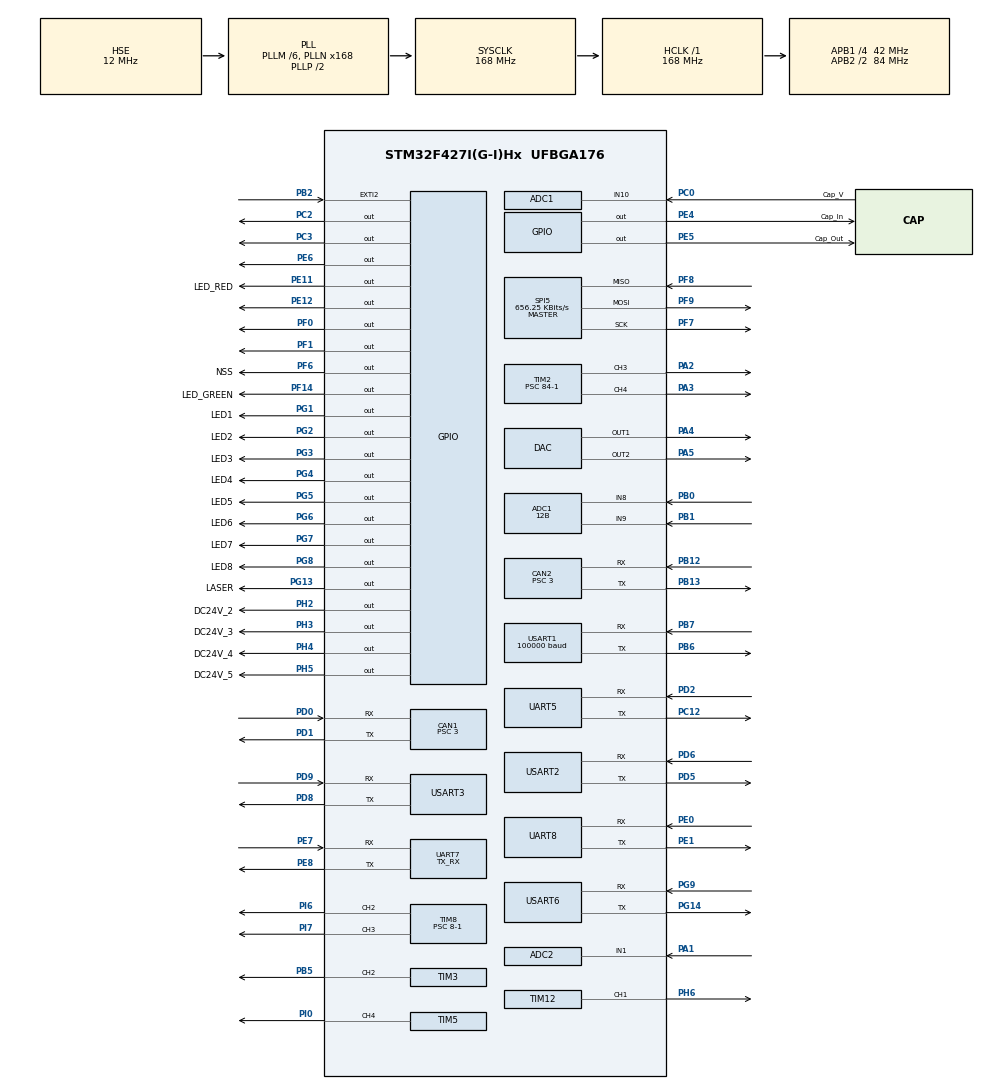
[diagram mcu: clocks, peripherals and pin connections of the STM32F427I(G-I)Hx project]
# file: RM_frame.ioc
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ADC1.Channel-0\#ChannelRegularConversion=ADC_CHANNEL_VREFINT
ADC1.Channel-1\#ChannelRegularConversion=ADC_CHANNEL_8
ADC1.Channel-2\#ChannelRegularConversion=ADC_CHANNEL_9
ADC1.Channel-3\#ChannelRegularConversion=ADC_CHANNEL_10
ADC1.ClockPrescaler=ADC_CLOCK_SYNC_PCLK_DIV4
ADC1.ContinuousConvMode=ENABLE
ADC1.DMAContinuousRequests=ENABLE
ADC1.DataAlign=ADC_DATAALIGN_RIGHT
ADC1.DiscontinuousConvMode=DISABLE
ADC1.EOCSelection=ADC_EOC_SINGLE_CONV
ADC1.EnableAnalogWatchDog=false
ADC1.ExternalTrigConv=ADC_SOFTWARE_START
ADC1.ExternalTrigConvEdge=ADC_EXTERNALTRIGCONVEDGE_NONE
ADC1.InjNumberOfConversion=0
ADC1.NbrOfConversion=4
ADC1.NbrOfConversionFlag=1
ADC1.Rank-0\#ChannelRegularConversion=1
ADC1.Rank-1\#ChannelRegularConversion=2
ADC1.Rank-2\#ChannelRegularConversion=3
ADC1.Rank-3\#ChannelRegularConversion=4
ADC1.Resolution=ADC_RESOLUTION_12B
ADC1.SamplingTime-0\#ChannelRegularConversion=ADC_SAMPLETIME_56CYCLES
ADC1.SamplingTime-1\#ChannelRegularConversion=ADC_SAMPLETIME_56CYCLES
ADC1.SamplingTime-2\#ChannelRegularConversion=ADC_SAMPLETIME_56CYCLES
ADC1.SamplingTime-3\#ChannelRegularConversion=ADC_SAMPLETIME_56CYCLES
ADC1.ScanConvMode=ENABLE
ADC1.master=1
ADC2.Channel-4\#ChannelRegularConversion=ADC_CHANNEL_1
ADC2.ContinuousConvMode=ENABLE
ADC2.DMAContinuousRequests=ENABLE
ADC2.NbrOfConversionFlag=1
ADC2.Rank-4\#ChannelRegularConversion=1
ADC2.SamplingTime-4\#ChannelRegularConversion=ADC_SAMPLETIME_3CYCLES
ADC2.ScanConvMode=ENABLE
CAN1.BS1=CAN_BS1_9TQ
CAN1.BS2=CAN_BS2_4TQ
CAN1.CalculateTimeBit=1000
CAN1.CalculateTimeQuantum=71.42857142857143
CAN1.Prescaler=3
CAN2.BS1=CAN_BS1_9TQ
CAN2.BS2=CAN_BS2_4TQ
CAN2.CalculateTimeBit=1000
CAN2.CalculateTimeQuantum=71.42857142857143
CAN2.Prescaler=3
Dma.ADC1.5.Direction=DMA_PERIPH_TO_MEMORY
Dma.ADC1.5.FIFOMode=DMA_FIFOMODE_DISABLE
Dma.ADC1.5.Instance=DMA2_Stream0
Dma.ADC1.5.MemDataAlignment=DMA_MDATAALIGN_HALFWORD
Dma.ADC1.5.MemInc=DMA_MINC_ENABLE
Dma.ADC1.5.Mode=DMA_CIRCULAR
Dma.ADC1.5.PeriphDataAlignment=DMA_PDATAALIGN_HALFWORD
Dma.ADC1.5.PeriphInc=DMA_PINC_DISABLE
Dma.ADC1.5.Priority=DMA_PRIORITY_LOW
Dma.ADC2.6.Direction=DMA_PERIPH_TO_MEMORY
Dma.ADC2.6.FIFOMode=DMA_FIFOMODE_DISABLE
Dma.ADC2.6.Instance=DMA2_Stream3
Dma.ADC2.6.MemDataAlignment=DMA_MDATAALIGN_HALFWORD
Dma.ADC2.6.MemInc=DMA_MINC_ENABLE
Dma.ADC2.6.Mode=DMA_CIRCULAR
Dma.ADC2.6.PeriphDataAlignment=DMA_PDATAALIGN_HALFWORD
Dma.ADC2.6.PeriphInc=DMA_PINC_DISABLE
Dma.ADC2.6.Priority=DMA_PRIORITY_LOW
Dma.Request0=USART3_RX
Dma.Request1=USART2_RX
Dma.Request2=USART6_RX
Dma.Request3=USART6_TX
Dma.Request4=USART1_RX
Dma.Request5=ADC1
Dma.Request6=ADC2
Dma.Request7=USART2_TX
Dma.Request8=USART3_TX
Dma.USART1_RX.4.Direction=DMA_PERIPH_TO_MEMORY
Dma.USART1_RX.4.FIFOMode=DMA_FIFOMODE_DISABLE
Dma.USART1_RX.4.Instance=DMA2_Stream2
Dma.USART1_RX.4.MemDataAlignment=DMA_MDATAALIGN_BYTE
Dma.USART1_RX.4.MemInc=DMA_MINC_ENABLE
Dma.USART1_RX.4.Mode=DMA_NORMAL
Dma.USART1_RX.4.PeriphDataAlignment=DMA_PDATAALIGN_BYTE
Dma.USART1_RX.4.PeriphInc=DMA_PINC_DISABLE
Dma.USART1_RX.4.Priority=DMA_PRIORITY_LOW
Dma.USART2_RX.1.Direction=DMA_PERIPH_TO_MEMORY
Dma.USART2_RX.1.FIFOMode=DMA_FIFOMODE_DISABLE
Dma.USART2_RX.1.Instance=DMA1_Stream5
Dma.USART2_RX.1.MemDataAlignment=DMA_MDATAALIGN_BYTE
Dma.USART2_RX.1.MemInc=DMA_MINC_ENABLE
Dma.USART2_RX.1.Mode=DMA_NORMAL
Dma.USART2_RX.1.PeriphDataAlignment=DMA_PDATAALIGN_BYTE
Dma.USART2_RX.1.PeriphInc=DMA_PINC_DISABLE
Dma.USART2_RX.1.Priority=DMA_PRIORITY_LOW
Dma.USART2_TX.7.Direction=DMA_MEMORY_TO_PERIPH
Dma.USART2_TX.7.FIFOMode=DMA_FIFOMODE_DISABLE
Dma.USART2_TX.7.Instance=DMA1_Stream6
Dma.USART2_TX.7.MemDataAlignment=DMA_MDATAALIGN_BYTE
Dma.USART2_TX.7.MemInc=DMA_MINC_ENABLE
Dma.USART2_TX.7.Mode=DMA_NORMAL
Dma.USART2_TX.7.PeriphDataAlignment=DMA_PDATAALIGN_BYTE
Dma.USART2_TX.7.PeriphInc=DMA_PINC_DISABLE
Dma.USART2_TX.7.Priority=DMA_PRIORITY_LOW
Dma.USART3_RX.0.Direction=DMA_PERIPH_TO_MEMORY
Dma.USART3_RX.0.FIFOMode=DMA_FIFOMODE_DISABLE
Dma.USART3_RX.0.Instance=DMA1_Stream1
Dma.USART3_RX.0.MemDataAlignment=DMA_MDATAALIGN_BYTE
Dma.USART3_RX.0.MemInc=DMA_MINC_ENABLE
Dma.USART3_RX.0.Mode=DMA_NORMAL
Dma.USART3_RX.0.PeriphDataAlignment=DMA_PDATAALIGN_BYTE
Dma.USART3_RX.0.PeriphInc=DMA_PINC_DISABLE
Dma.USART3_RX.0.Priority=DMA_PRIORITY_LOW
Dma.USART3_TX.8.Direction=DMA_MEMORY_TO_PERIPH
Dma.USART3_TX.8.FIFOMode=DMA_FIFOMODE_DISABLE
Dma.USART3_TX.8.Instance=DMA1_Stream3
Dma.USART3_TX.8.MemDataAlignment=DMA_MDATAALIGN_BYTE
Dma.USART3_TX.8.MemInc=DMA_MINC_ENABLE
Dma.USART3_TX.8.Mode=DMA_NORMAL
Dma.USART3_TX.8.PeriphDataAlignment=DMA_PDATAALIGN_BYTE
Dma.USART3_TX.8.PeriphInc=DMA_PINC_DISABLE
Dma.USART3_TX.8.Priority=DMA_PRIORITY_LOW
Dma.USART6_RX.2.Direction=DMA_PERIPH_TO_MEMORY
Dma.USART6_RX.2.FIFOMode=DMA_FIFOMODE_DISABLE
Dma.USART6_RX.2.Instance=DMA2_Stream1
Dma.USART6_RX.2.MemDataAlignment=DMA_MDATAALIGN_BYTE
Dma.USART6_RX.2.MemInc=DMA_MINC_ENABLE
Dma.USART6_RX.2.Mode=DMA_NORMAL
Dma.USART6_RX.2.PeriphDataAlignment=DMA_PDATAALIGN_BYTE
Dma.USART6_RX.2.PeriphInc=DMA_PINC_DISABLE
Dma.USART6_RX.2.Priority=DMA_PRIORITY_LOW
Dma.USART6_TX.3.Direction=DMA_MEMORY_TO_PERIPH
Dma.USART6_TX.3.FIFOMode=DMA_FIFOMODE_DISABLE
Dma.USART6_TX.3.Instance=DMA2_Stream6
Dma.USART6_TX.3.MemDataAlignment=DMA_MDATAALIGN_BYTE
Dma.USART6_TX.3.MemInc=DMA_MINC_ENABLE
Dma.USART6_TX.3.Mode=DMA_NORMAL
Dma.USART6_TX.3.PeriphDataAlignment=DMA_PDATAALIGN_BYTE
Dma.USART6_TX.3.PeriphInc=DMA_PINC_DISABLE
Dma.USART6_TX.3.Priority=DMA_PRIORITY_LOW
IWDG.Prescaler=IWDG_PRESCALER_32
IWDG.Reload=1000
Mcu.Family=STM32F4
Mcu.Name=STM32F427I(G-I)Hx
Mcu.Package=UFBGA176
NVIC.ADC_IRQn=true\:0\:0\:false\:false\:true\:true\:true
NVIC.CAN1_RX0_IRQn=true\:0\:0\:true\:false\:true\:true\:true
NVIC.CAN1_TX_IRQn=true\:0\:0\:true\:false\:true\:true\:true
NVIC.CAN2_RX0_IRQn=true\:1\:0\:true\:false\:true\:true\:true
NVIC.CAN2_TX_IRQn=true\:2\:0\:true\:false\:true\:true\:true
NVIC.DMA1_Stream1_IRQn=true\:0\:0\:false\:false\:true\:false\:true
NVIC.DMA1_Stream3_IRQn=true\:0\:0\:false\:false\:true\:false\:true
NVIC.DMA1_Stream5_IRQn=true\:0\:0\:false\:false\:true\:false\:true
NVIC.DMA1_Stream6_IRQn=true\:0\:0\:false\:false\:true\:false\:true
NVIC.DMA2_Stream0_IRQn=true\:0\:0\:false\:false\:true\:false\:true
NVIC.DMA2_Stream1_IRQn=true\:0\:0\:false\:false\:true\:false\:true
NVIC.DMA2_Stream2_IRQn=true\:0\:0\:false\:false\:true\:false\:true
NVIC.DMA2_Stream3_IRQn=true\:0\:0\:false\:false\:true\:false\:true
NVIC.DMA2_Stream6_IRQn=true\:0\:0\:false\:false\:true\:false\:true
NVIC.EXTI2_IRQn=true\:0\:0\:false\:false\:true\:true\:true
NVIC.PriorityGroup=NVIC_PRIORITYGROUP_4
NVIC.TIM1_UP_TIM10_IRQn=true\:4\:0\:true\:false\:true\:true\:true
NVIC.TIM6_DAC_IRQn=true\:3\:0\:true\:false\:true\:true\:true
NVIC.TIM7_IRQn=true\:0\:0\:true\:false\:true\:true\:true
NVIC.UART7_IRQn=true\:4\:0\:true\:false\:true\:true\:true
NVIC.UART8_IRQn=true\:4\:0\:true\:false\:true\:true\:true
NVIC.USART1_IRQn=true\:0\:0\:true\:false\:true\:true\:true
NVIC.USART2_IRQn=true\:0\:0\:false\:false\:true\:true\:true
NVIC.USART3_IRQn=true\:0\:0\:false\:false\:true\:true\:true
NVIC.USART6_IRQn=true\:1\:0\:true\:false\:true\:true\:true
PA1.Signal=ADCx_IN1
PA13.Mode=Serial_Wire
PA13.Signal=SYS_JTMS-SWDIO
PA14.Mode=Serial_Wire
PA14.Signal=SYS_JTCK-SWCLK
PA2.Signal=S_TIM2_CH3
PA3.Signal=S_TIM2_CH4
PA4.Signal=COMP_DAC1_group
PA5.Signal=COMP_DAC2_group
PB0.Signal=ADCx_IN8
PB1.Signal=ADCx_IN9
PB12.Mode=Slave
PB12.Signal=CAN2_RX
PB13.Mode=Slave
PB13.Signal=CAN2_TX
PB2/BOOT1.Signal=GPXTI2
PB5.Signal=S_TIM3_CH2
PB6.Mode=Asynchronous
PB6.Signal=USART1_TX
PB7.Mode=Asynchronous
PB7.Signal=USART1_RX
PC0.GPIO_Label=Cap_V
PC0.Signal=ADCx_IN10
PC12.Mode=Asynchronous
PC12.Signal=UART5_TX
PC14/OSC32_IN.Mode=LSE-External-Oscillator
PC14/OSC32_IN.Signal=RCC_OSC32_IN
PC15/OSC32_OUT.Mode=LSE-External-Oscillator
PC15/OSC32_OUT.Signal=RCC_OSC32_OUT
PC2.Signal=GPIO_Output
PC3.Signal=GPIO_Output
PD0.Mode=Master
PD0.Signal=CAN1_RX
PD1.Mode=Master
PD1.Signal=CAN1_TX
PD2.Mode=Asynchronous
PD2.Signal=UART5_RX
PD5.Mode=Asynchronous
PD5.Signal=USART2_TX
PD6.Mode=Asynchronous
PD6.Signal=USART2_RX
PD8.Mode=Asynchronous
PD8.Signal=USART3_TX
PD9.Mode=Asynchronous
PD9.Signal=USART3_RX
PE0.Mode=Asynchronous
PE0.Signal=UART8_RX
PE1.Mode=Asynchronous
PE1.Signal=UART8_TX
PE11.GPIO_Label=LED_RED
PE11.Signal=GPIO_Output
PE12.Signal=GPIO_Output
PE4.GPIO_Label=Cap_In
PE4.GPIO_PuPd=GPIO_PULLDOWN
PE4.GPIO_Speed=GPIO_SPEED_FREQ_HIGH
PE4.PinState=GPIO_PIN_RESET
PE4.Signal=GPIO_Output
PE5.GPIO_Label=Cap_Out
PE5.Signal=GPIO_Output
PE6.Signal=GPIO_Output
PE7.Mode=Asynchronous
PE7.Signal=UART7_RX
PE8.Mode=Asynchronous
PE8.Signal=UART7_TX
PF0.Signal=GPIO_Output
PF1.GPIO_PuPd=GPIO_NOPULL
PF1.PinState=GPIO_PIN_SET
PF1.Signal=GPIO_Output
PF14.GPIO_Label=LED_GREEN
PF14.Signal=GPIO_Output
PF6.GPIO_Label=NSS
PF6.Signal=GPIO_Output
PF7.Mode=Full_Duplex_Master
PF7.Signal=SPI5_SCK
PF8.Mode=Full_Duplex_Master
PF8.Signal=SPI5_MISO
PF9.Mode=Full_Duplex_Master
PF9.Signal=SPI5_MOSI
PG1.GPIO_Label=LED1
PG1.Signal=GPIO_Output
PG13.GPIO_Label=LASER
PG13.Signal=GPIO_Output
PG14.Mode=Asynchronous
PG14.Signal=USART6_TX
PG2.GPIO_Label=LED2
PG2.Signal=GPIO_Output
PG3.GPIO_Label=LED3
PG3.Signal=GPIO_Output
PG4.GPIO_Label=LED4
PG4.Signal=GPIO_Output
PG5.GPIO_Label=LED5
PG5.Signal=GPIO_Output
PG6.GPIO_Label=LED6
PG6.Signal=GPIO_Output
PG7.GPIO_Label=LED7
PG7.Signal=GPIO_Output
PG8.GPIO_Label=LED8
PG8.Signal=GPIO_Output
PG9.Mode=Asynchronous
PG9.Signal=USART6_RX
PH0/OSC_IN.Mode=HSE-External-Oscillator
PH0/OSC_IN.Signal=RCC_OSC_IN
PH1/OSC_OUT.Mode=HSE-External-Oscillator
PH1/OSC_OUT.Signal=RCC_OSC_OUT
PH2.GPIO_Label=DC24V_2
PH2.Signal=GPIO_Output
PH3.GPIO_Label=DC24V_3
PH3.Signal=GPIO_Output
PH4.GPIO_Label=DC24V_4
PH4.Signal=GPIO_Output
PH5.GPIO_Label=DC24V_5
PH5.Signal=GPIO_Output
PH6.Signal=S_TIM12_CH1
PI0.Signal=S_TIM5_CH4
PI6.Signal=S_TIM8_CH2
PI7.Signal=S_TIM8_CH3
ProjectManager.HeapSize=0x200
ProjectManager.StackSize=0x400
ProjectManager.TargetToolchain=SW4STM32
RCC.48MHZClocksFreq_Value=84000000
RCC.AHBFreq_Value=168000000
RCC.APB1CLKDivider=RCC_HCLK_DIV4
RCC.APB1Freq_Value=42000000
RCC.APB1TimFreq_Value=84000000
RCC.APB2CLKDivider=RCC_HCLK_DIV2
RCC.APB2Freq_Value=84000000
RCC.APB2TimFreq_Value=168000000
RCC.CortexFreq_Value=168000000
RCC.HCLKFreq_Value=168000000
RCC.HSE_VALUE=12000000
RCC.HSI_VALUE=16000000
RCC.PLLM=6
RCC.PLLN=168
RCC.PLLSourceVirtual=RCC_PLLSOURCE_HSE
RCC.SYSCLKFreq_VALUE=168000000
RCC.SYSCLKSource=RCC_SYSCLKSOURCE_PLLCLK
RCC.VCOOutputFreq_Value=336000000
SH.ADCx_IN1.0=ADC2_IN1,IN1
SH.ADCx_IN10.0=ADC1_IN10,IN10
SH.ADCx_IN8.0=ADC1_IN8,IN8
SH.ADCx_IN9.0=ADC1_IN9,IN9
SH.COMP_DAC1_group.0=DAC_OUT1,DAC_OUT1
SH.COMP_DAC2_group.0=DAC_OUT2,DAC_OUT2
SH.S_TIM12_CH1.0=TIM12_CH1,PWM Generation1 CH1
SH.S_TIM2_CH3.0=TIM2_CH3,PWM Generation3 CH3
SH.S_TIM2_CH4.0=TIM2_CH4,PWM Generation4 CH4
SH.S_TIM3_CH2.0=TIM3_CH2,PWM Generation2 CH2
SH.S_TIM5_CH4.0=TIM5_CH4,PWM Generation4 CH4
SH.S_TIM8_CH2.0=TIM8_CH2,PWM Generation2 CH2
SH.S_TIM8_CH3.0=TIM8_CH3,PWM Generation3 CH3
SPI5.BaudRatePrescaler=SPI_BAUDRATEPRESCALER_128
SPI5.CalculateBaudRate=656.25 KBits/s
SPI5.Direction=SPI_DIRECTION_2LINES
SPI5.Mode=SPI_MODE_MASTER
SPI5.VirtualType=VM_MASTER
TIM10.Period=10000
TIM10.Prescaler=168-1
TIM12.Channel-PWM\ Generation1\ CH1=TIM_CHANNEL_1
TIM12.Period=2500-1
TIM12.Prescaler=84-1
TIM12.Pulse-PWM\ Generation1\ CH1=1000
TIM2.Channel-PWM\ Generation2\ CH2=TIM_CHANNEL_2
TIM2.Channel-PWM\ Generation3\ CH3=TIM_CHANNEL_3
TIM2.Channel-PWM\ Generation4\ CH4=TIM_CHANNEL_4
TIM2.Period=19000 - 1
TIM2.Prescaler=84-1
TIM3.Channel-PWM\ Generation2\ CH2=TIM_CHANNEL_2
TIM5.Channel-PWM\ Generation4\ CH4=TIM_CHANNEL_4
TIM5.Period=1000000
TIM5.Prescaler=84-1
TIM5.Pulse-PWM\ Generation4\ CH4=1000
TIM6.Period=1000
TIM6.Prescaler=84-1
TIM7.Period=1000
TIM7.Prescaler=84-1
TIM8.Channel-PWM\ Generation2\ CH2=TIM_CHANNEL_2
TIM8.Channel-PWM\ Generation3\ CH3=TIM_CHANNEL_3
TIM8.Period=42000-1
TIM8.Prescaler=8-1
UART5.VirtualMode=Asynchronous
UART7.Mode=MODE_TX_RX
UART7.OverSampling=UART_OVERSAMPLING_16
UART7.VirtualMode=Asynchronous
UART7.WordLength=WORDLENGTH_8B
UART8.VirtualMode=Asynchronous
USART1.BaudRate=100000
USART1.Mode=MODE_RX
USART1.Parity=PARITY_EVEN
USART1.VirtualMode=VM_ASYNC
USART1.WordLength=WORDLENGTH_9B
USART2.VirtualMode=VM_ASYNC
USART3.VirtualMode=VM_ASYNC
USART6.VirtualMode=VM_ASYNC
VP_ADC1_Vref_Input.Mode=IN-Vrefint
VP_IWDG_VS_IWDG.Mode=IWDG_Activate
VP_TIM10_VS_ClockSourceINT.Mode=Enable_Timer
VP_TIM12_VS_ClockSourceINT.Mode=Internal
VP_TIM2_VS_ClockSourceINT.Mode=Internal
VP_TIM6_VS_ClockSourceINT.Mode=Enable_Timer
VP_TIM7_VS_ClockSourceINT.Mode=Enable_Timer
board=RM_frame

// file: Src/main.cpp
/**
  ******************************************************************************
  * File Name          : main.c
  * Description        : Main program body
  ******************************************************************************
  ** This notice applies to any and all portions of this file
  * that are not between comment pairs USER CODE BEGIN and
  * USER CODE END. Other portions of this file, whether
  * inserted by the user or by software development tools
  * are owned by their respective copyright owners.
  *
  * COPYRIGHT(c) 2020 STMicroelectronics
  *
  * Redistribution and use in source and binary forms, with or without modification,
  * are permitted provided that the following conditions are met:
  *   1. Redistributions of source code must retain the above copyright notice,
  *      this list of conditions and the following disclaimer.
  *   2. Redistributions in binary form must reproduce the above copyright notice,
  *      this list of conditions and the following disclaimer in the documentation
  *      and/or other materials provided with the distribution.
  *   3. Neither the name of STMicroelectronics nor the names of its contributors
  *      may be used to endorse or promote products derived from this software
  *      without specific prior written permission.
  *
  * THIS SOFTWARE IS PROVIDED BY THE COPYRIGHT HOLDERS AND CONTRIBUTORS "AS IS"
  * AND ANY EXPRESS OR IMPLIED WARRANTIES, INCLUDING, BUT NOT LIMITED TO, THE
  * IMPLIED WARRANTIES OF MERCHANTABILITY AND FITNESS FOR A PARTICULAR PURPOSE ARE
  * DISCLAIMED. IN NO EVENT SHALL THE COPYRIGHT HOLDER OR CONTRIBUTORS BE LIABLE
  * FOR ANY DIRECT, INDIRECT, INCIDENTAL, SPECIAL, EXEMPLARY, OR CONSEQUENTIAL
  * DAMAGES (INCLUDING, BUT NOT LIMITED TO, PROCUREMENT OF SUBSTITUTE GOODS OR
  * SERVICES; LOSS OF USE, DATA, OR PROFITS; OR BUSINESS INTERRUPTION) HOWEVER
  * CAUSED AND ON ANY THEORY OF LIABILITY, WHETHER IN CONTRACT, STRICT LIABILITY,
  * OR TORT (INCLUDING NEGLIGENCE OR OTHERWISE) ARISING IN ANY WAY OUT OF THE USE
  * OF THIS SOFTWARE, EVEN IF ADVISED OF THE POSSIBILITY OF SUCH DAMAGE.
  *
  ******************************************************************************
  */

#include "main.h"
#include "stm32f4xx_hal.h"
#include "adc.h"
#include "can.h"
#include "dac.h"
#include "dma.h"
#include "iwdg.h"
#include "spi.h"
#include "tim.h"
#include "usart.h"
#include "gpio.h"

/* USER CODE BEGIN Includes */
#include "includes.h"
/* USER CODE END Includes */

/* USER CODE BEGIN PV */
/* Private variables ---------------------------------------------------------*/

/* USER CODE END PV */

void SystemClock_Config(void);

/* USER CODE BEGIN PFP */
/* Private function prototypes -----------------------------------------------*/

/* USER CODE END PFP */

int main(void) {

    /* MCU Configuration----------------------------------------------------------*/

    /* Reset of all peripherals, Initializes the Flash interface and the Systick. */
    HAL_Init();

    /* Configure the system clock */
    SystemClock_Config();

    /* USER CODE BEGIN SysInit */
    HAL_NVIC_DisableIRQ(USART2_IRQn);
    HAL_NVIC_DisableIRQ(USART3_IRQn);
    HAL_NVIC_DisableIRQ(USART6_IRQn);
    HAL_NVIC_DisableIRQ(DMA1_Stream1_IRQn);
    HAL_NVIC_DisableIRQ(DMA1_Stream5_IRQn);
    HAL_NVIC_DisableIRQ(DMA2_Stream1_IRQn);

    HAL_NVIC_DisableIRQ(CAN1_RX0_IRQn);
    HAL_NVIC_DisableIRQ(CAN2_RX0_IRQn);
    HAL_NVIC_DisableIRQ(USART1_IRQn);
    HAL_NVIC_DisableIRQ(DMA2_Stream2_IRQn);
    HAL_NVIC_DisableIRQ(TIM7_IRQn);
    HAL_NVIC_DisableIRQ(TIM6_DAC_IRQn);
    /* USER CODE END SysInit */

    /* Initialize all configured peripherals */
    MX_GPIO_Init();
    MX_DMA_Init();
    MX_CAN1_Init();
    MX_CAN2_Init();
    MX_SPI5_Init();
    MX_USART1_UART_Init();
    MX_TIM6_Init();
    MX_TIM12_Init();
    MX_USART6_UART_Init();
    MX_TIM7_Init();
    MX_TIM10_Init();
    MX_TIM2_Init();
    //MX_IWDG_Init();
    MX_TIM5_Init();
    MX_USART3_UART_Init();
    MX_UART7_Init();
    MX_ADC1_Init();
    MX_UART8_Init();
    MX_USART2_UART_Init();
    MX_TIM8_Init();
    MX_TIM3_Init();
    MX_DAC_Init();
    MX_ADC2_Init();
    MX_UART5_Init();

    /* USER CODE BEGIN 2 */
    ENABLE_DC24V_2();
    ENABLE_DC24V_3();
    ENABLE_DC24V_4();
    ENABLE_DC24V_5();

    CarInit();

    HAL_TIM_Base_Start_IT(&htim6);
    HAL_TIM_Base_Start_IT(&htim7);
    HAL_TIM_PWM_Start(&htim2, TIM_CHANNEL_3);
    HAL_TIM_PWM_Start(&htim2, TIM_CHANNEL_4);
    HAL_TIM_PWM_Start(&htim5, TIM_CHANNEL_3);
    HAL_TIM_PWM_Start(&htim5, TIM_CHANNEL_4);
    HAL_TIM_PWM_Start(&htim8, TIM_CHANNEL_3);
    HAL_TIM_PWM_Start(&htim8, TIM_CHANNEL_2);

    HAL_NVIC_EnableIRQ(CAN1_RX0_IRQn);
    HAL_NVIC_EnableIRQ(CAN2_RX0_IRQn);
    HAL_NVIC_EnableIRQ(USART1_IRQn);
    HAL_NVIC_EnableIRQ(DMA2_Stream2_IRQn);
    HAL_NVIC_EnableIRQ(TIM6_DAC_IRQn);
    HAL_NVIC_EnableIRQ(TIM7_IRQn);
//    __HAL_TIM_SET_COMPARE(&htim2, TIM_CHANNEL_3, 1500);
//    __HAL_TIM_SET_COMPARE(&htim2, TIM_CHANNEL_4, 1500);
//    __HAL_TIM_SET_COMPARE(&htim5, TIM_CHANNEL_3, 1500);
//    __HAL_TIM_SET_COMPARE(&htim5, TIM_CHANNEL_4, 1500);
//    __HAL_TIM_SET_COMPARE(&htim8, TIM_CHANNEL_3, 1500);
//    __HAL_TIM_SET_COMPARE(&htim8, TIM_CHANNEL_2, 1500);
    /* USER CODE END 2 */

    /* Infinite loop */
    while (1) {

    }

}

/** System Clock Configuration
*/
void SystemClock_Config(void) {

    RCC_OscInitTypeDef RCC_OscInitStruct;
    RCC_ClkInitTypeDef RCC_ClkInitStruct;

    /**Configure the main internal regulator output voltage
    */
    __HAL_RCC_PWR_CLK_ENABLE();

    __HAL_PWR_VOLTAGESCALING_CONFIG(PWR_REGULATOR_VOLTAGE_SCALE1);

    /**Initializes the CPU, AHB and APB busses clocks
    */
    RCC_OscInitStruct.OscillatorType = RCC_OSCILLATORTYPE_LSI | RCC_OSCILLATORTYPE_HSE;
    RCC_OscInitStruct.HSEState = RCC_HSE_ON;
    RCC_OscInitStruct.LSIState = RCC_LSI_ON;
    RCC_OscInitStruct.PLL.PLLState = RCC_PLL_ON;
    RCC_OscInitStruct.PLL.PLLSource = RCC_PLLSOURCE_HSE;
    RCC_OscInitStruct.PLL.PLLM = 6;
    RCC_OscInitStruct.PLL.PLLN = 168;
    RCC_OscInitStruct.PLL.PLLP = RCC_PLLP_DIV2;
    RCC_OscInitStruct.PLL.PLLQ = 4;
    if (HAL_RCC_OscConfig(&RCC_OscInitStruct) != HAL_OK) {
        _Error_Handler(__FILE__, __LINE__);
    }

    /**Initializes the CPU, AHB and APB busses clocks
    */
    RCC_ClkInitStruct.ClockType = RCC_CLOCKTYPE_HCLK | RCC_CLOCKTYPE_SYSCLK
                                  | RCC_CLOCKTYPE_PCLK1 | RCC_CLOCKTYPE_PCLK2;
    RCC_ClkInitStruct.SYSCLKSource = RCC_SYSCLKSOURCE_PLLCLK;
    RCC_ClkInitStruct.AHBCLKDivider = RCC_SYSCLK_DIV1;
    RCC_ClkInitStruct.APB1CLKDivider = RCC_HCLK_DIV4;
    RCC_ClkInitStruct.APB2CLKDivider = RCC_HCLK_DIV2;

    if (HAL_RCC_ClockConfig(&RCC_ClkInitStruct, FLASH_LATENCY_5) != HAL_OK) {
        _Error_Handler(__FILE__, __LINE__);
    }

    /**Configure the Systick interrupt time
    */
    HAL_SYSTICK_Config(HAL_RCC_GetHCLKFreq() / 1000);

    /**Configure the Systick
    */
    HAL_SYSTICK_CLKSourceConfig(SYSTICK_CLKSOURCE_HCLK);

    /* SysTick_IRQn interrupt configuration */
    HAL_NVIC_SetPriority(SysTick_IRQn, 0, 0);
}

void _Error_Handler(const char *file, int line) {
    while (1) {
    }
}

/************************ (C) COPYRIGHT STMicroelectronics *****END OF FILE****/
